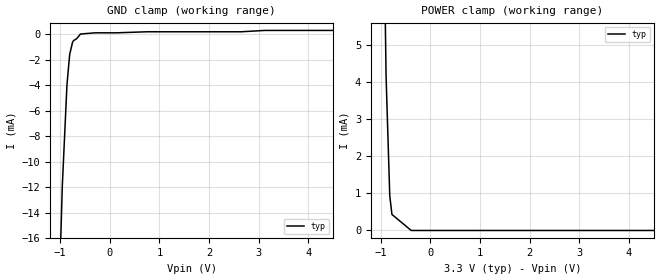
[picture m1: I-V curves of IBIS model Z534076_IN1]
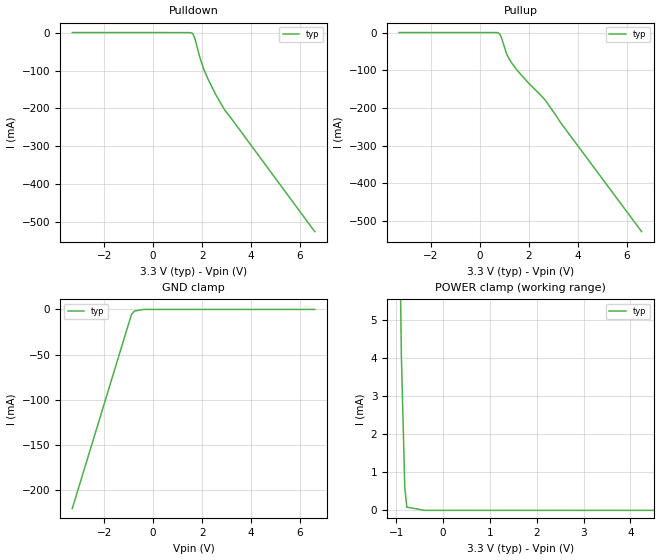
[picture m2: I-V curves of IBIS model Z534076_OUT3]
| YOU ARE ONLY AUTHORIZED TO USE THIS SOFTWARE
| ACCORDING TO LICENSOR'S LICENSE RESTRICTIONS.
[IBIS Ver] 3.1
[File Name] mc100lvel12dw_33.ibs
[File Rev] 2.0
[Source] Derived from MC100lvel17dw_3_3.ibs and MC100lvel16D_pecl.ibs
|   Measured and created by ICX Technology
[Date] 2/9/2004
[Copyright]
| (C) COPYRIGHT 1993-2000
| MENTOR GRAPHICS CORPORATION
| ICX STANDARD LIBRARY, ICX PROJECT MODELING,
| ICX CUSTOM MODELING, ICX VENDOR MODEL
| ALL RIGHTS RESERVED.
| THE FOLLOWING ARE TRADEMARKS OR SERVICE MARKS OF
| MENTOR GRAPHICS CORPORATION:ICX (R), ICX STANDARD
| LIBRARY(R), ICX PROJECT MODELING(R), ICX CUSTOM
| MODELING(R), qualityIBIS(TM), MODELVIEWER(TM),
| AND MODELEDITOR(TM)
| ALL COPIES OF SOFTWARE, INCLUDING BUT NOT LIMITED TO
| ANY MODIFICATIONS, ENHANCEMENTS OR DERIVATIVE WORKS,
| MUST CONTAIN ALL MENTOR GRAPHICS CORPORATION'S
| NOTICES AND LEGENDS, INCLUDING THOSE EMBEDDED IN
| SOFTWARE AND THOSE AFFIXED TO SOFTWARE MEDIUM
| AND CONTAINER, AS RECEIVED FROM MENTOR GRAPHICS
| CORPORATION.
|  ZAP Model Builder 2.7
[Component] MC100LVEL12DW_33
[Manufacturer] OnSemiconductor
[Package]
| variable   typ   min   max
R_pkg  .152ohms NA NA
L_pkg  2.714nH NA NA
C_pkg  .364pF NA NA
[Pin] signal_name  model_name  R_pin  L_pin C_pin
1 Q3 Z534076_OUT3 .178 4.42n .62p
2 Q3 Z534076_OUT3 .178 4.42n .62p
3 _Q3 Z534076_OUT3 .182 4.89n .65p
4 _Q3 Z534076_OUT3 .182 4.89n .65p
5 VEE POWER .186 5.37n .68p
6 D0 Z534076_IN1 .182 4.89n .65p
7 D0 Z534076_IN1 .182 4.89n .65p
8 VCC POWER .186 5.37n .68p
| Models and submodels in the file (2): Z534076_IN1 (Input_ECL), Z534076_OUT3 (Output_ECL)
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| (C) COPYRIGHT 1993-2000
| MENTOR GRAPHICS CORPORATION
| ICX STANDARD LIBRARY, ICX PROJECT MODELING,
| ICX CUSTOM MODELING, ICX VENDOR MODEL
| ALL RIGHTS RESERVED.
| THE FOLLOWING ARE TRADEMARKS OR SERVICE MARKS OF
| MENTOR GRAPHICS CORPORATION:ICX (R), ICX STANDARD
| LIBRARY(R), ICX PROJECT MODELING(R), ICX CUSTOM
| MODELING(R), qualityIBIS(TM), MODELVIEWER(TM),
| AND MODELEDITOR(TM)
| ALL COPIES OF SOFTWARE, INCLUDING BUT NOT LIMITED TO
| ANY MODIFICATIONS, ENHANCEMENTS OR DERIVATIVE WORKS,
| MUST CONTAIN ALL MENTOR GRAPHICS CORPORATION'S
| NOTICES AND LEGENDS, INCLUDING THOSE EMBEDDED IN
| SOFTWARE AND THOSE AFFIXED TO SOFTWARE MEDIUM
| AND CONTAINER, AS RECEIVED FROM MENTOR GRAPHICS
| CORPORATION.
| Model Application Version 1.89 2/18/99.
[Model] Z534076_IN1
Model_type Input_ECL
Vinl = 2.115V
Vinh = 2.301V
C_comp 2.000pF NA NA
| variable typ   min   max
[Voltage Range] 3.300V NA NA
[GND Clamp Reference] 0.000V NA NA
[POWER Clamp Reference] 3.300V NA NA
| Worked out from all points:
|   GND clamp passes 1 mA (typ) near -0.77 V on its own axis
|   POWER clamp passes 1 mA (typ) near -0.82 V on its own axis
[GND Clamp]
-3.3V     -423.7mA   NA         NA
-1.044V   -23.23mA   NA         NA
-957mV    -11.84mA   NA         NA
-864mV    -3.967mA   NA         NA
-809.1mV  -1.569mA   NA         NA
-751.9mV  -625.3uA   NA         NA
-732.3mV  -487.5uA   NA         NA
-590.8mV  35.01uA    NA         NA
748.1mV   210.2uA    NA         NA
2.647V    210.2uA    NA         NA
3.122V    316.1uA    NA         NA
6.6V      316.1uA    NA         NA
[POWER Clamp]
-3.3V     757.2mA    NA         NA
-1.069V   27.22mA    NA         NA
-1.005V   14.63mA    NA         NA
-894mV    4.144mA    NA         NA
-820mV    934.9uA    NA         NA
-776mV    432.2uA    NA         NA
-388mV    0A         NA         NA
6.6V      0A         NA         NA
| (C) COPYRIGHT 1993-2000
| MENTOR GRAPHICS CORPORATION
| ICX STANDARD LIBRARY, ICX PROJECT MODELING,
| ICX CUSTOM MODELING, ICX VENDOR MODEL
| ALL RIGHTS RESERVED.
| THE FOLLOWING ARE TRADEMARKS OR SERVICE MARKS OF
| MENTOR GRAPHICS CORPORATION:ICX (R), ICX STANDARD
| LIBRARY(R), ICX PROJECT MODELING(R), ICX CUSTOM
| MODELING(R), qualityIBIS(TM), MODELVIEWER(TM),
| AND MODELEDITOR(TM)
| ALL COPIES OF SOFTWARE, INCLUDING BUT NOT LIMITED TO
| ANY MODIFICATIONS, ENHANCEMENTS OR DERIVATIVE WORKS,
| MUST CONTAIN ALL MENTOR GRAPHICS CORPORATION'S
| NOTICES AND LEGENDS, INCLUDING THOSE EMBEDDED IN
| SOFTWARE AND THOSE AFFIXED TO SOFTWARE MEDIUM
| AND CONTAINER, AS RECEIVED FROM MENTOR GRAPHICS
| CORPORATION.
| (C) COPYRIGHT 1993-2000
| MENTOR GRAPHICS CORPORATION
| ICX STANDARD LIBRARY, ICX PROJECT MODELING,
| ICX CUSTOM MODELING, ICX VENDOR MODEL
| ALL RIGHTS RESERVED.
| THE FOLLOWING ARE TRADEMARKS OR SERVICE MARKS OF
| MENTOR GRAPHICS CORPORATION:ICX (R), ICX STANDARD
| LIBRARY(R), ICX PROJECT MODELING(R), ICX CUSTOM
| MODELING(R), qualityIBIS(TM), MODELVIEWER(TM),
| AND MODELEDITOR(TM)
| ALL COPIES OF SOFTWARE, INCLUDING BUT NOT LIMITED TO
| ANY MODIFICATIONS, ENHANCEMENTS OR DERIVATIVE WORKS,
| MUST CONTAIN ALL MENTOR GRAPHICS CORPORATION'S
| NOTICES AND LEGENDS, INCLUDING THOSE EMBEDDED IN
| SOFTWARE AND THOSE AFFIXED TO SOFTWARE MEDIUM
| AND CONTAINER, AS RECEIVED FROM MENTOR GRAPHICS
| CORPORATION.
| Model Application Version 1.89 2/18/99.
[Model] Z534076_OUT3
Model_type Output_ECL
Vref=0.000V
Rref=50.00ohms
Cref=0.000F
Vmeas=2.207V
C_comp 2.000pF NA NA
| variable typ   min   max
[Voltage Range] 3.300V NA NA
[POWER Clamp Reference] 3.300V NA NA
[Pullup Reference] 3.300V NA NA
[Pulldown Reference] 3.300V NA NA
[GND Clamp Reference] 0.000V NA NA
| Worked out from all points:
|   POWER clamp passes 1 mA (typ) near -0.83 V on its own axis
[GND Clamp]
-3.3V     -220.6mA   NA         NA
-885.8mV  -5.811mA   NA         NA
-761.4mV  -1.812mA   NA         NA
-380.7mV  0A         NA         NA
6.6V      0A         NA         NA
[Pulldown]
-3.3V     277.2uA    NA         NA
1.595V    -1.533mA   NA         NA
1.65V     -6.019mA   NA         NA
1.718V    -18.2mA    NA         NA
1.905V    -64.74mA   NA         NA
2.07V     -96.83mA   NA         NA
2.26V     -124.9mA   NA         NA
2.573V    -165.2mA   NA         NA
2.929V    -204.6mA   NA         NA
6.6V      -525.1mA   NA         NA
[Pullup]
-3.3V     263.4uA    NA         NA
680mV     110.2uA    NA         NA
795mV     -2.69mA    NA         NA
868mV     -11.63mA   NA         NA
1.078V    -54.63mA   NA         NA
1.29V     -80.11mA   NA         NA
1.747V    -116.9mA   NA         NA
2.679V    -180.3mA   NA         NA
3.291V    -238.7mA   NA         NA
6.6V      -528.1mA   NA         NA
[POWER Clamp]
-3.3V     560.9mA    NA         NA
-1.072V   24.39mA    NA         NA
-1.005V   14.48mA    NA         NA
-894mV    4.104mA    NA         NA
-821mV    617.7uA    NA         NA
-777mV    83.4uA     NA         NA
-388.5mV  0A         NA         NA
6.6V      0A         NA         NA
[Ramp]
| variable typ min max
dV/dt_r 486.8m/169.8p NA NA
dV/dt_f 486.8m/178.4p NA NA
R_load = 50.0Ohms
